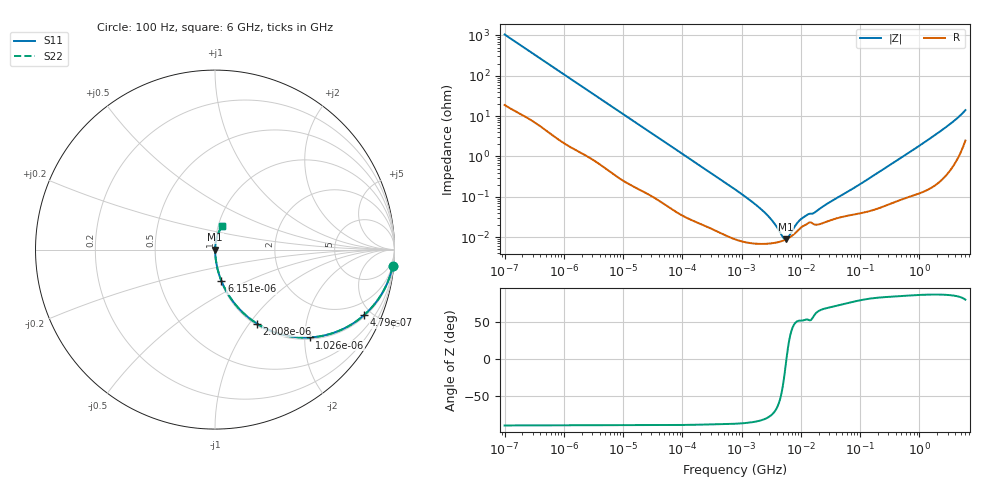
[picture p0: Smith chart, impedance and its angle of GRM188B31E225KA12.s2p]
!Murata Part Number: GRM188B31E225KA12
!These Parameters are Measured in Series Mode Connection
!Data Generated on Mar 30, 2021
!  o--ll--o
!Port1  Port2
!  o------o
!Operation Temp=25[degC], DC Bias Voltage=0[V]
!Freq. Start=100[Hz] Stop=6[GHz] 401[Steps]
# Hz S RI R 50
!Freq.(Hz) S11(Real) S11(Imag) S21(Real) S21(Imag) S12(Real) S12(Imag) S22(Real) S22(Imag)
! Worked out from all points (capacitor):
!   401 points, 100 Hz to 6 GHz, reference 50 ohm
!   read as one part in series: C = 1.5 uF near 109 Hz
!   lowest |Z| = 8.8 mohm at 5.555 MHz (marker M1)
!   series resonance near 5.717 MHz, so ESL is about 520 pH
!   S11 on the Smith chart (normalised r, x): 100 Hz: 1, -21; 479 Hz: 1.09, -4.49; 1.026 kHz: 1.04, -2.12; 2.008 kHz: 1.02, -1.09; 6.151 kHz: 1.01, -0.36; 6 GHz: 1.05, +0.28
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100  0.9894 -0.0937  0.0106 0.0937  0.0106 0.0937  0.9894 -0.0937
245  0.9458 -0.2163  0.0542 0.2163  0.0542 0.2163  0.9458 -0.2163
479  0.8295 -0.3659  0.1705 0.3659  0.1705 0.3659  0.8295 -0.3659
1026  0.5278 -0.4895  0.4722 0.4895  0.4722 0.4895  0.5278 -0.4895
2008  0.2339 -0.4125  0.7661 0.4125  0.7661 0.4125  0.2339 -0.4125
3287  0.1068 -0.2975  0.8932 0.2975  0.8932 0.2975  0.1068 -0.2975
6151  0.0354 -0.174  0.9646 0.174  0.9646 0.174  0.0354 -0.174
13772  0.0085 -0.0808  0.9915 0.0808  0.9915 0.0808  0.0085 -0.0808
40335  0.00161 -0.0283  0.9984 0.0283  0.9984 0.0283  0.00161 -0.0283
774597  9.09e-05 -0.00153  0.9999 0.00153  0.9999 0.00153  9.09e-05 -0.00153
2372521  6.83e-05 -0.000424  0.9999 0.000424  0.9999 0.000424  6.83e-05 -0.000424
3394479  7.12e-05 -0.000232  0.9999 0.000232  0.9999 0.000232  7.12e-05 -0.000232
4856642  8.06e-05 -6.96e-05  0.9999 6.96e-05  0.9999 6.96e-05  8.06e-05 -6.96e-05
5554849  8.72e-05 -1.21e-05  0.9999 1.21e-05  0.9999 1.21e-05  8.72e-05 -1.21e-05
6353432  9.68e-05 4.49e-05  0.9999 -4.49e-05  0.9999 -4.49e-05  9.68e-05 4.49e-05
8311524  0.000133 0.000157  0.9999 -0.000157  0.9999 -0.000157  0.000133 0.000157
9941735  0.000171 0.000217  0.9998 -0.000217  0.9998 -0.000217  0.000171 0.000217
1.300572e7  0.000217 0.000291  0.9998 -0.000291  0.9998 -0.000291  0.000217 0.000291
1.555665e7  0.000222 0.000311  0.9998 -0.000311  0.9998 -0.000311  0.000222 0.000311
3.124326e8  0.000693 0.00598  0.9993 -0.00598  0.9993 -0.00598  0.000693 0.00598
2.142435e9  0.00383 0.0395  0.9962 -0.0395  0.9962 -0.0395  0.00383 0.0395
6e9  0.0417 0.1296  0.9583 -0.1296  0.9583 -0.1296  0.0417 0.1296
